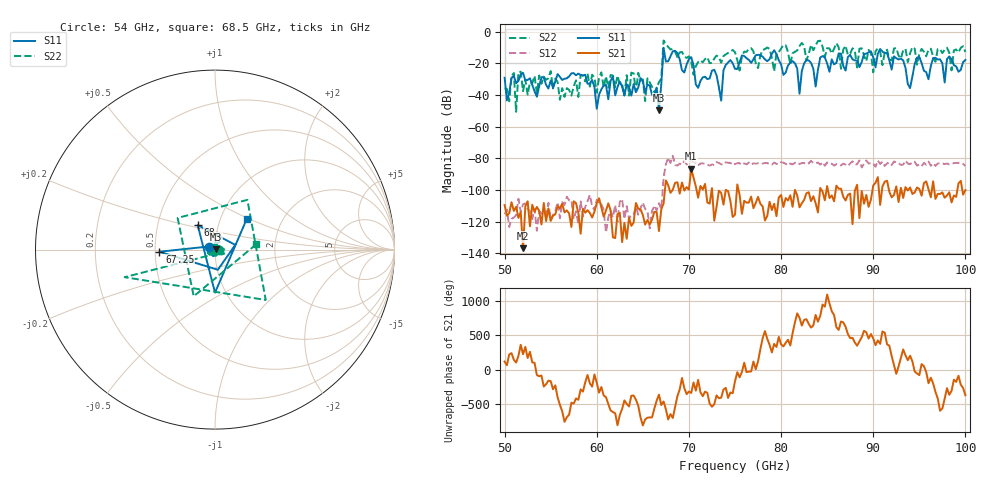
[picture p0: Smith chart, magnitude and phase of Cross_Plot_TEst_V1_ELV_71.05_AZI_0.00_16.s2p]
! 11/25/2026 1:23:44 PM
! C:\ANRITSUVNA\TEMP\TEMP.S2P
! CHANNEL.1
! TR.MEASUREMENT
! RAW.DATA
# HZ S RI R 50.0
! FREQ.HZ  S11RE  S11IM  S21RE  S21IM  S12RE  S12IM  S22RE  S22IM
!; PortSelection: Port_12
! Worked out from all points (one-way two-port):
!   201 points, 50 GHz to 100 GHz, reference 50 ohm
!   highest |S21| = -86.65 dB at 70.25 GHz (marker M1); lowest = -137.0 dB at 52 GHz (marker M2)
!   lowest |S11| = -49.7 dB at 66.75 GHz (marker M3), VSWR 1.01, Z = 50.3 + j0.0716 ohm
!   |S11| at or under -10 dB: start of sweep to end of sweep
!   |S22| runs from -50.7 to -5.6 dB; largest |S21 - S12| = 0.00011
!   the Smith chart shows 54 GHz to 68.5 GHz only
!   S11 on the Smith chart (normalised r, x): 54 GHz: 0.93, +0.03; 67.25 GHz: 0.53, -0.01; 68 GHz: 0.80, +0.22; 68.5 GHz: 1.33, +0.49
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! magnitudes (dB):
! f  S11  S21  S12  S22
! 50 GHz  -29.1  -109.6  -115.4  -35.8
! 52 GHz  -26.0  -137.0  -109.1  -37.6
! 54 GHz  -28.7  -121.9  -115.0  -32.9
! 58.5 GHz  -27.7  -111.9  -116.9  -27.7
! 60 GHz  -48.8  -108.3  -106.3  -38.6
! 61.75 GHz  -28.4  -130.0  -117.4  -27.7
! 66.75 GHz  -49.7  -126.0  -108.3  -31.9
! 67.25 GHz  -10.2  -108.5  -92.1  -5.6
! 68 GHz  -15.5  -101.9  -83.0  -11.3
! 68.5 GHz  -12.1  -95.6  -84.2  -12.6
! 70.25 GHz  -16.1  -86.7  -81.8  -19.1
! 73.5 GHz  -43.6  -101.9  -83.8  -19.7
! 73.75 GHz  -24.4  -109.3  -84.0  -15.4
! 75 GHz  -23.5  -115.7  -83.7  -13.0
! 79.25 GHz  -11.8  -108.8  -82.8  -25.1
! 82 GHz  -39.2  -111.1  -83.7  -9.1
! 83.5 GHz  -23.4  -104.0  -83.1  -11.7
! 91.75 GHz  -18.2  -101.3  -82.8  -17.6
! 94 GHz  -35.7  -98.5  -83.8  -13.7
! 94.75 GHz  -16.4  -98.5  -84.7  -20.9
! 97.75 GHz  -32.1  -105.0  -83.7  -11.4
! 100 GHz  -17.9  -100.2  -84.9  -12.9
